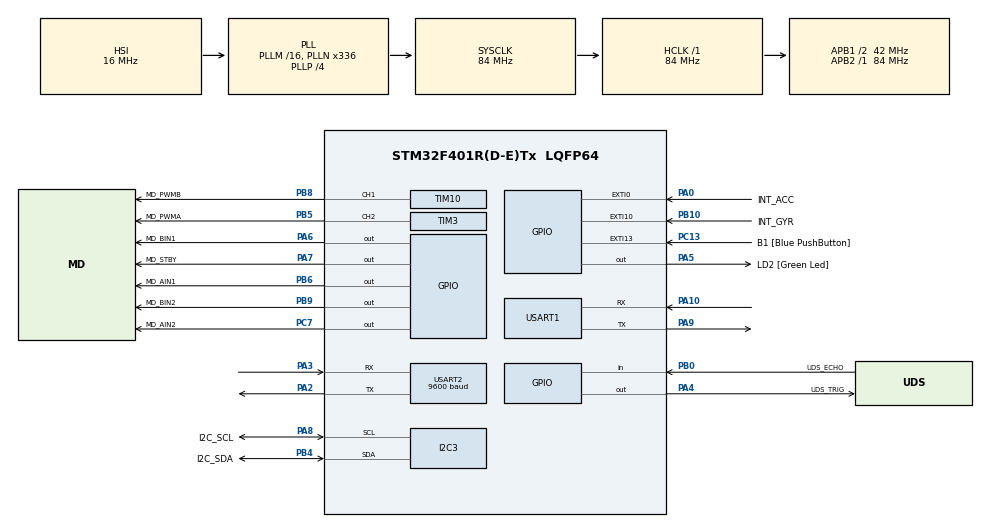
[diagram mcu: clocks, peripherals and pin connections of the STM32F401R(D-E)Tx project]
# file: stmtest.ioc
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Dma.Request0=USART1_RX
Dma.USART1_RX.0.Direction=DMA_PERIPH_TO_MEMORY
Dma.USART1_RX.0.FIFOMode=DMA_FIFOMODE_DISABLE
Dma.USART1_RX.0.Instance=DMA2_Stream2
Dma.USART1_RX.0.MemDataAlignment=DMA_MDATAALIGN_BYTE
Dma.USART1_RX.0.MemInc=DMA_MINC_ENABLE
Dma.USART1_RX.0.Mode=DMA_NORMAL
Dma.USART1_RX.0.PeriphDataAlignment=DMA_PDATAALIGN_BYTE
Dma.USART1_RX.0.PeriphInc=DMA_PINC_DISABLE
Dma.USART1_RX.0.Priority=DMA_PRIORITY_LOW
FREERTOS.Tasks01=defaultTask,24,128,StartDefaultTask,Default,NULL,Dynamic,NULL,NULL;readEspUart,8,128,StartReadEspUart,Default,NULL,Dynamic,NULL,NULL;distanceSensor,24,128,StartDistanceSensor,Default,NULL,Dynamic,NULL,NULL;sendDataTask,40,128,StartSendDataTask,Default,NULL,Dynamic,NULL,NULL
FREERTOS.configUSE_NEWLIB_REENTRANT=0
Mcu.Family=STM32F4
Mcu.Name=STM32F401R(D-E)Tx
Mcu.Package=LQFP64
NVIC.DMA2_Stream2_IRQn=true\:5\:0\:false\:false\:true\:true\:false\:true\:true
NVIC.EXTI0_IRQn=true\:5\:0\:false\:false\:true\:true\:true\:true\:true
NVIC.EXTI15_10_IRQn=true\:5\:0\:false\:false\:true\:true\:true\:true\:true
NVIC.PriorityGroup=NVIC_PRIORITYGROUP_4
NVIC.TIM1_UP_TIM10_IRQn=true\:15\:0\:false\:false\:true\:false\:false\:true\:true
NVIC.TimeBase=TIM1_UP_TIM10_IRQn
NVIC.TimeBaseIP=TIM1
NVIC.USART1_IRQn=true\:5\:0\:false\:false\:true\:true\:true\:true\:true
PA0-WKUP.GPIO_Label=INT_ACC
PA0-WKUP.Signal=GPXTI0
PA10.GPIO_ModeDefaultPP=GPIO_MODE_AF_PP
PA10.GPIO_PuPd=GPIO_NOPULL
PA10.GPIO_Speed=GPIO_SPEED_FREQ_VERY_HIGH
PA10.Mode=Asynchronous
PA10.Signal=USART1_RX
PA13.GPIO_Label=TMS
PA13.Mode=Serial_Wire
PA13.Signal=SYS_JTMS-SWDIO
PA14.GPIO_Label=TCK
PA14.Mode=Serial_Wire
PA14.Signal=SYS_JTCK-SWCLK
PA2.GPIO_Mode=GPIO_MODE_AF_PP
PA2.GPIO_ModeDefaultPP=GPIO_MODE_AF_PP
PA2.GPIO_PuPd=GPIO_NOPULL
PA2.GPIO_Speed=GPIO_SPEED_FREQ_VERY_HIGH
PA2.Mode=Asynchronous
PA2.Signal=USART2_TX
PA3.GPIO_Mode=GPIO_MODE_AF_PP
PA3.GPIO_ModeDefaultPP=GPIO_MODE_AF_PP
PA3.GPIO_PuPd=GPIO_NOPULL
PA3.GPIO_Speed=GPIO_SPEED_FREQ_VERY_HIGH
PA3.Mode=Asynchronous
PA3.Signal=USART2_RX
PA4.GPIO_Label=UDS_TRIG
PA4.Signal=GPIO_Output
PA5.GPIO_Label=LD2 [Green Led]
PA5.GPIO_Mode=GPIO_MODE_OUTPUT_PP
PA5.GPIO_PuPd=GPIO_NOPULL
PA5.GPIO_Speed=GPIO_SPEED_FREQ_LOW
PA5.Signal=GPIO_Output
PA6.GPIO_Label=MD_BIN1
PA6.Signal=GPIO_Output
PA7.GPIO_Label=MD_STBY
PA7.Signal=GPIO_Output
PA8.GPIO_Label=I2C_SCL
PA8.GPIO_Pu=GPIO_PULLUP
PA8.Mode=I2C
PA8.Signal=I2C3_SCL
PA9.GPIO_ModeDefaultPP=GPIO_MODE_AF_PP
PA9.GPIO_PuPd=GPIO_NOPULL
PA9.GPIO_Speed=GPIO_SPEED_FREQ_VERY_HIGH
PA9.Mode=Asynchronous
PA9.Signal=USART1_TX
PB0.GPIO_Label=UDS_ECHO
PB0.Signal=GPIO_Input
PB10.GPIO_Label=INT_GYR
PB10.GPIO_ModeDefaultEXTI=GPIO_MODE_IT_FALLING
PB10.Signal=GPXTI10
PB3.GPIO_Label=SWO
PB3.Signal=SYS_JTDO-SWO
PB4.GPIO_Label=I2C_SDA
PB4.GPIO_Pu=GPIO_PULLUP
PB4.Mode=I2C
PB4.Signal=I2C3_SDA
PB5.GPIO_Label=MD_PWMA
PB5.Signal=S_TIM3_CH2
PB6.GPIO_Label=MD_AIN1
PB6.Signal=GPIO_Output
PB8.GPIO_Label=MD_PWMB
PB8.Signal=S_TIM10_CH1
PB9.GPIO_Label=MD_BIN2
PB9.Signal=GPIO_Output
PC13-ANTI_TAMP.GPIO_Label=B1 [Blue PushButton]
PC13-ANTI_TAMP.GPIO_ModeDefaultEXTI=GPIO_MODE_IT_FALLING
PC13-ANTI_TAMP.GPIO_PuPd=GPIO_NOPULL
PC13-ANTI_TAMP.Signal=GPXTI13
PC14-OSC32_IN.Mode=LSE-External-Oscillator
PC14-OSC32_IN.Signal=RCC_OSC32_IN
PC15-OSC32_OUT.Mode=LSE-External-Oscillator
PC15-OSC32_OUT.Signal=RCC_OSC32_OUT
PC7.GPIO_Label=MD_AIN2
PC7.Signal=GPIO_Output
PH0\ -\ OSC_IN.Mode=HSE-External-Clock-Source
PH0\ -\ OSC_IN.Signal=RCC_OSC_IN
PH1\ -\ OSC_OUT.Mode=HSE-External-Clock-Source
PH1\ -\ OSC_OUT.Signal=RCC_OSC_OUT
ProjectManager.HeapSize=0x200
ProjectManager.StackSize=0x400
ProjectManager.TargetToolchain=STM32CubeIDE
RCC.48MHZClocksFreq_Value=48000000
RCC.AHBFreq_Value=84000000
RCC.APB1CLKDivider=RCC_HCLK_DIV2
RCC.APB1Freq_Value=42000000
RCC.APB1TimFreq_Value=84000000
RCC.APB2Freq_Value=84000000
RCC.APB2TimFreq_Value=84000000
RCC.CortexFreq_Value=84000000
RCC.HCLKFreq_Value=84000000
RCC.HSE_VALUE=8000000
RCC.HSI_VALUE=16000000
RCC.PLLN=336
RCC.PLLP=RCC_PLLP_DIV4
RCC.PLLQ=7
RCC.SYSCLKFreq_VALUE=84000000
RCC.SYSCLKSource=RCC_SYSCLKSOURCE_PLLCLK
RCC.VCOOutputFreq_Value=336000000
SH.S_TIM10_CH1.0=TIM10_CH1,PWM Generation1 CH1
SH.S_TIM3_CH2.0=TIM3_CH2,PWM Generation2 CH2
TIM10.Channel=TIM_CHANNEL_1
TIM11.Prescaler=83
TIM3.Channel-PWM\ Generation2\ CH2=TIM_CHANNEL_2
USART1.VirtualMode=VM_ASYNC
USART2.BaudRate=9600
USART2.VirtualMode=VM_ASYNC
VP_FREERTOS_VS_CMSIS_V2.Mode=CMSIS_V2
VP_SYS_VS_tim1.Mode=TIM1
VP_TIM10_VS_ClockSourceINT.Mode=Enable_Timer
VP_TIM11_VS_ClockSourceINT.Mode=Enable_Timer
board=NUCLEO-F401RE

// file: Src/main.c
/* USER CODE BEGIN Header */
/**
  ******************************************************************************
  * @file           : main.c
  * @brief          : Main program body
  ******************************************************************************
  * @attention
  *
  * Copyright (c) 2023 STMicroelectronics.
  * All rights reserved.
  *
  * This software is licensed under terms that can be found in the LICENSE file
  * in the root directory of this software component.
  * If no LICENSE file comes with this software, it is provided AS-IS.
  *
  ******************************************************************************
  */
/* USER CODE END Header */
#include "main.h"
#include "cmsis_os.h"
#include "dma.h"
#include "i2c.h"
#include "tim.h"
#include "usart.h"
#include "gpio.h"

/* USER CODE BEGIN Includes */
#include <stdio.h>
#include "imu.h"
#include "esp.h"

/* USER CODE END Includes */

void SystemClock_Config(void);
void MX_FREERTOS_Init(void);
/* USER CODE BEGIN PFP */
int _write(int fd, char* ptr, int len);
/* USER CODE END PFP */

int main(void)
{

  /* MCU Configuration--------------------------------------------------------*/

  /* Reset of all peripherals, Initializes the Flash interface and the Systick. */
  HAL_Init();

  /* Configure the system clock */
  SystemClock_Config();

  /* Initialize all configured peripherals */
  MX_GPIO_Init();
  MX_DMA_Init();
  MX_USART2_UART_Init();
  MX_I2C3_Init();
  MX_TIM3_Init();
  MX_TIM10_Init();
  MX_TIM11_Init();
  MX_USART1_UART_Init();
  /* USER CODE BEGIN 2 */
  softreset();
  normalmodes();
  setup_mag();
  configure_interrupt_pins();
  configure_bump_interrupt();
  configure_slope_interrupt();
  fast_offset_compensation();
  printf("Init done\n");
  /* USER CODE END 2 */

  /* Init scheduler */
  osKernelInitialize();  /* Call init function for freertos objects (in freertos.c) */
  MX_FREERTOS_Init();

  /* Start scheduler */
  osKernelStart();

  /* We should never get here as control is now taken by the scheduler */
  /* Infinite loop */
  while (1)
  {

  }
}

void SystemClock_Config(void)
{
  RCC_OscInitTypeDef RCC_OscInitStruct = {0};
  RCC_ClkInitTypeDef RCC_ClkInitStruct = {0};

  /** Configure the main internal regulator output voltage
  */
  __HAL_RCC_PWR_CLK_ENABLE();
  __HAL_PWR_VOLTAGESCALING_CONFIG(PWR_REGULATOR_VOLTAGE_SCALE2);

  /** Initializes the RCC Oscillators according to the specified parameters
  * in the RCC_OscInitTypeDef structure.
  */
  RCC_OscInitStruct.OscillatorType = RCC_OSCILLATORTYPE_HSI;
  RCC_OscInitStruct.HSIState = RCC_HSI_ON;
  RCC_OscInitStruct.HSICalibrationValue = RCC_HSICALIBRATION_DEFAULT;
  RCC_OscInitStruct.PLL.PLLState = RCC_PLL_ON;
  RCC_OscInitStruct.PLL.PLLSource = RCC_PLLSOURCE_HSI;
  RCC_OscInitStruct.PLL.PLLM = 16;
  RCC_OscInitStruct.PLL.PLLN = 336;
  RCC_OscInitStruct.PLL.PLLP = RCC_PLLP_DIV4;
  RCC_OscInitStruct.PLL.PLLQ = 7;
  if (HAL_RCC_OscConfig(&RCC_OscInitStruct) != HAL_OK)
  {
    Error_Handler();
  }

  /** Initializes the CPU, AHB and APB buses clocks
  */
  RCC_ClkInitStruct.ClockType = RCC_CLOCKTYPE_HCLK|RCC_CLOCKTYPE_SYSCLK
                              |RCC_CLOCKTYPE_PCLK1|RCC_CLOCKTYPE_PCLK2;
  RCC_ClkInitStruct.SYSCLKSource = RCC_SYSCLKSOURCE_PLLCLK;
  RCC_ClkInitStruct.AHBCLKDivider = RCC_SYSCLK_DIV1;
  RCC_ClkInitStruct.APB1CLKDivider = RCC_HCLK_DIV2;
  RCC_ClkInitStruct.APB2CLKDivider = RCC_HCLK_DIV1;

  if (HAL_RCC_ClockConfig(&RCC_ClkInitStruct, FLASH_LATENCY_2) != HAL_OK)
  {
    Error_Handler();
  }
}

/* USER CODE BEGIN 4 */
int _write(int fd, char* ptr, int len) {
  HAL_UART_Transmit(&huart2, (uint8_t *) ptr, len, HAL_MAX_DELAY);
  return len;
}

void HAL_GPIO_EXTI_Callback(uint16_t GPIO_Pin)
{
  uint8_t value;
  if(GPIO_Pin == INT_ACC_Pin) {
    // Check flat interrupt
    read_register(REG_INT_STATUS_0, &value);
    if (value & (0x01 << 7)) {
      // Check non flat event
      read_register(REG_INT_STATUS_3, &value);
      if ((value & (0x01 << 7)) == 0) {
        send_tcp_message("slope\r\n");
      }
    }
    // Check high G interrupt
    read_register(REG_INT_STATUS_1, &value);
    if (value & (0x01 << 2)) {
      send_tcp_message("bump\r\n");
    }
  }
  // else if (GPIO_Pin == INT_GYR_Pin) {}
  else {
      __NOP();
  }
}

/* USER CODE END 4 */

void HAL_TIM_PeriodElapsedCallback(TIM_HandleTypeDef *htim)
{
  if (htim->Instance == TIM1) {
    HAL_IncTick();
  }
}

void Error_Handler(void)
{
  __disable_irq();
  while (1)
  {
  }
}

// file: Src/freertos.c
/* USER CODE BEGIN Header */
/**
  ******************************************************************************
  * File Name          : freertos.c
  * Description        : Code for freertos applications
  ******************************************************************************
  * @attention
  *
  * Copyright (c) 2024 STMicroelectronics.
  * All rights reserved.
  *
  * This software is licensed under terms that can be found in the LICENSE file
  * in the root directory of this software component.
  * If no LICENSE file comes with this software, it is provided AS-IS.
  *
  ******************************************************************************
  */
/* USER CODE END Header */

#include "FreeRTOS.h"
#include "task.h"
#include "main.h"
#include "cmsis_os.h"

/* USER CODE BEGIN Includes */
#include "esp.h"
#include "usart.h"
#include <string.h>
#include "uds.h"
#include "atomic.h"
#include "motor.h"
#include "imu.h"
/* USER CODE END Includes */

/* USER CODE BEGIN PTD */
enum State {
  INIT,
  STOP,
  LEFT,
  RIGHT,
  FORWARD,
  BACKWARD
} state = INIT;

/* USER CODE END PTD */

/* USER CODE BEGIN PD */
#define RXBUFFERSIZE 128
#define MAINBUFFERSIZE 256
/* USER CODE END PD */

/* USER CODE BEGIN Variables */
uint8_t rxbuffer[RXBUFFERSIZE];
uint8_t mainbuffer[MAINBUFFERSIZE];
uint16_t old_write_end, write_end, read_start;
uint8_t speed = 50;

/* USER CODE END Variables */
/* Definitions for defaultTask */
osThreadId_t defaultTaskHandle;
const osThreadAttr_t defaultTask_attributes = {
  .name = "defaultTask",
  .stack_size = 128 * 4,
  .priority = (osPriority_t) osPriorityNormal,
};
/* Definitions for readEspUart */
osThreadId_t readEspUartHandle;
const osThreadAttr_t readEspUart_attributes = {
  .name = "readEspUart",
  .stack_size = 128 * 4,
  .priority = (osPriority_t) osPriorityLow,
};
/* Definitions for distanceSensor */
osThreadId_t distanceSensorHandle;
const osThreadAttr_t distanceSensor_attributes = {
  .name = "distanceSensor",
  .stack_size = 128 * 4,
  .priority = (osPriority_t) osPriorityNormal,
};
/* Definitions for sendDataTask */
osThreadId_t sendDataTaskHandle;
const osThreadAttr_t sendDataTask_attributes = {
  .name = "sendDataTask",
  .stack_size = 128 * 4,
  .priority = (osPriority_t) osPriorityHigh,
};

void StartDefaultTask(void *argument);
void StartReadEspUart(void *argument);
void StartDistanceSensor(void *argument);
void StartSendDataTask(void *argument);

void MX_FREERTOS_Init(void); /* (MISRA C 2004 rule 8.1) */

void MX_FREERTOS_Init(void) {

  /* Create the thread(s) */
  /* creation of defaultTask */
  defaultTaskHandle = osThreadNew(StartDefaultTask, NULL, &defaultTask_attributes);

  /* creation of readEspUart */
  readEspUartHandle = osThreadNew(StartReadEspUart, NULL, &readEspUart_attributes);

  /* creation of distanceSensor */
  distanceSensorHandle = osThreadNew(StartDistanceSensor, NULL, &distanceSensor_attributes);

  /* creation of sendDataTask */
  sendDataTaskHandle = osThreadNew(StartSendDataTask, NULL, &sendDataTask_attributes);

}

void StartDefaultTask(void *argument)
{
  /* USER CODE BEGIN StartDefaultTask */
  HAL_UARTEx_ReceiveToIdle_DMA(&huart1, rxbuffer, RXBUFFERSIZE);
  reset_esp();
  echo_off();
  open_socket();
  enable_wifi();
  // Set state to stop after init done
  Atomic_CompareAndSwap_u32((uint32_t*)&state, STOP, state);
  printf("ESP init done\n");
  /* Infinite loop */
  for(;;)
  {
    if (state == STOP) {
      motor_stop();
    }
    else if (state == FORWARD) {
      drive_forwards(speed);
    }
    else if (state == BACKWARD) {
      drive_backwards(speed);
    }
    else if (state == LEFT) {
      drive_left(40);
    }
    else if (state == RIGHT) {
      drive_right(40);
    }
    osDelay(100);
  }
  /* USER CODE END StartDefaultTask */
}

void StartReadEspUart(void *argument)
{
  /* USER CODE BEGIN StartReadEspUart */
  /* Infinite loop */
  for(;;)
  {
    if (write_end != read_start) {
    printf("< ");
    // Read from mainbuffer
    for (; read_start!=write_end; read_start=(read_start+1) % MAINBUFFERSIZE) {
      putchar(mainbuffer[read_start]);
    }
    putchar('\n');
    }
    osDelay(100);
  }
  /* USER CODE END StartReadEspUart */
}

void StartDistanceSensor(void *argument)
{
  /* USER CODE BEGIN StartDistanceSensor */
  float dist;
  // Wait until esp is ready
  while (state == INIT) osDelay(500);
  /* Infinite loop */
  for(;;)
  {
    get_distance(&dist);
    if (dist < 20) {
      Atomic_CompareAndSwap_u32((uint32_t*)&state, STOP, state);
    }
    osDelay(200);
  }
  /* USER CODE END StartDistanceSensor */
}

void StartSendDataTask(void *argument)
{
  /* USER CODE BEGIN StartSendDataTask */
  /* Infinite loop */
  char msg[64];
  int16_t mag_x, mag_y, mag_z;

  // Wait until esp is ready
  while (state == INIT) osDelay(500);
  for(;;)
  {
    read_mag_x(&mag_x);
    read_mag_y(&mag_y);
    read_mag_z(&mag_z);
    snprintf(msg, 64, "%d,%d,%d\r\n", mag_x, mag_y, mag_z);
    send_tcp_message(msg);
    osDelay(1000);
  }
  /* USER CODE END StartSendDataTask */
}

/* USER CODE BEGIN Application */
void HAL_UARTEx_RxEventCallback(UART_HandleTypeDef *huart, uint16_t size) {
  uint8_t *start;
  uint8_t const margin = 12;
  // Idea from https://controllerstech.com/uart-dma-with-idle-line-detection/
  if (huart->Instance == USART1) {
    old_write_end = write_end; // Write position of mainbuffer
    if (old_write_end+size >= MAINBUFFERSIZE) { // When input is too long for end of mainbuffer
      uint16_t datatocopy = MAINBUFFERSIZE - old_write_end;
      memcpy(mainbuffer + old_write_end, rxbuffer, datatocopy); // Copy first part to the end
      old_write_end = 0;
      memcpy(mainbuffer, rxbuffer + datatocopy, (size - datatocopy)); // Copy rest to the start
      write_end = (size - datatocopy);
    }
    else { // When enough space in mainbufferr
      memcpy(mainbuffer + old_write_end, rxbuffer, size);
      write_end = size + old_write_end;
    }
    // First check if string is in rxbuffer, then check it in the start of the buffer.
    // Otherwise it might find old strings from end of the buffer
    if ((start = (uint8_t*)strstr((char*)rxbuffer, "stop")) && start < rxbuffer + margin) {
      Atomic_CompareAndSwap_u32((uint32_t*)&state, STOP, state);
    }
    else if ((start = (uint8_t*)strstr((char*)rxbuffer, "forward")) && start < rxbuffer + margin) {
      Atomic_CompareAndSwap_u32((uint32_t*)&state, FORWARD, state);
    }
    else if ((start = (uint8_t*)strstr((char*)rxbuffer, "back")) && start < rxbuffer + margin) {
      Atomic_CompareAndSwap_u32((uint32_t*)&state, BACKWARD, state);
    }
    else if ((start = (uint8_t*)strstr((char*)rxbuffer, "left")) && start < rxbuffer + margin) {
      Atomic_CompareAndSwap_u32((uint32_t*)&state, LEFT, state);
    }
    else if ((start = (uint8_t*)strstr((char*)rxbuffer, "right")) && start < rxbuffer + margin) {
      Atomic_CompareAndSwap_u32((uint32_t*)&state, RIGHT, state);
    }
    else if ((start = (uint8_t*)strstr((char*)rxbuffer, "faster")) && start < rxbuffer + margin) {
      if (speed <= 90) {
        Atomic_Add_u32((uint32_t*)&speed, 10);
      }
    }
    else if ((start = (uint8_t*)strstr((char*)rxbuffer, "slower")) && start < rxbuffer + margin) {
      if (speed >= 20) {
        Atomic_Subtract_u32((uint32_t*)&speed, 10);
      }
    }
    HAL_UARTEx_ReceiveToIdle_DMA(&huart1, rxbuffer, RXBUFFERSIZE);
  }
}
/* USER CODE END Application */
